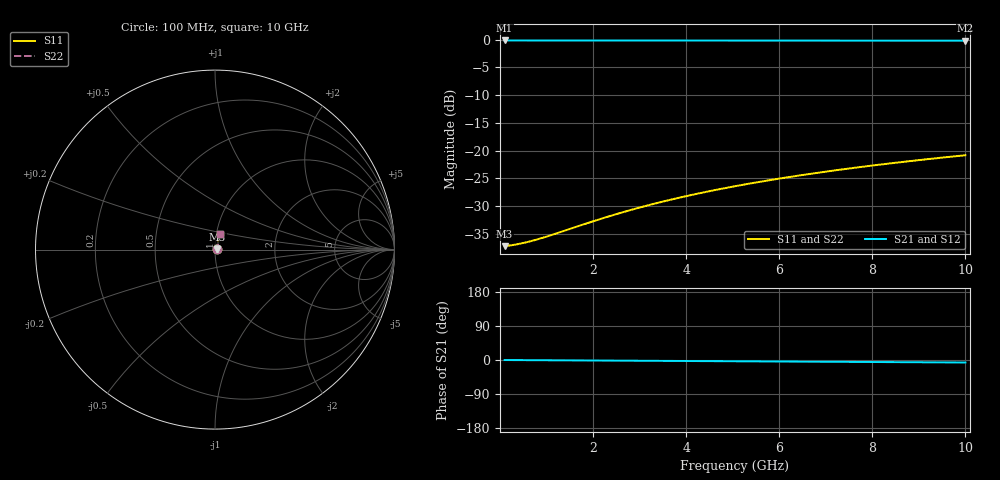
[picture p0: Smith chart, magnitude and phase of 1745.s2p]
# Hz S RI R 50.00
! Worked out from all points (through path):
!   100 points, 100 MHz to 10 GHz, reference 50 ohm
!   highest |S21| = -0.12 dB at 100 MHz (marker M1); lowest = -0.2 dB at 10 GHz (marker M2)
!   lowest |S11| = -37.3 dB at 100 MHz (marker M3), VSWR 1.03, Z = 51.4 + j0.0909 ohm
!   |S11| at or under -10 dB: start of sweep to end of sweep
!   |S22| runs from -37.3 to -20.8 dB; largest |S21 - S12| = 0
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1e8  0.0137 0.000884  0.9863 -0.00114  0.9863 -0.00114  0.0137 0.000884
3e8  0.0138 0.00265  0.9862 -0.00343  0.9862 -0.00343  0.0138 0.00265
4e8  0.0139 0.00353  0.9861 -0.00457  0.9861 -0.00457  0.0139 0.00353
5e8  0.014 0.00442  0.986 -0.00571  0.986 -0.00571  0.014 0.00442
7e8  0.0141 0.00618  0.9859 -0.00799  0.9859 -0.00799  0.0141 0.00618
9e8  0.0141 0.00795  0.9858 -0.0103  0.9858 -0.0103  0.0141 0.00795
1.1e9  0.0142 0.00971  0.9858 -0.0126  0.9858 -0.0126  0.0142 0.00971
1.8e9  0.0146 0.0159  0.9854 -0.0205  0.9854 -0.0205  0.0146 0.0159
2.2e9  0.0148 0.0194  0.9852 -0.0251  0.9852 -0.0251  0.0148 0.0194
2.6e9  0.0151 0.0229  0.9849 -0.0297  0.9849 -0.0297  0.0151 0.0229
3e9  0.0153 0.0265  0.9846 -0.0342  0.9846 -0.0342  0.0153 0.0265
3.4e9  0.0156 0.03  0.9843 -0.0388  0.9843 -0.0388  0.0156 0.03
3.8e9  0.016 0.0335  0.984 -0.0433  0.984 -0.0433  0.016 0.0335
4.2e9  0.0163 0.037  0.9836 -0.0478  0.9836 -0.0478  0.0163 0.037
4.6e9  0.0167 0.0405  0.9832 -0.0524  0.9832 -0.0524  0.0167 0.0405
5.1e9  0.0173 0.0449  0.9826 -0.0581  0.9826 -0.0581  0.0173 0.0449
5.9e9  0.0182 0.0518  0.9816 -0.0671  0.9816 -0.0671  0.0182 0.0518
6.7e9  0.0193 0.0588  0.9805 -0.0761  0.9805 -0.0761  0.0193 0.0588
7.5e9  0.0205 0.0657  0.9793 -0.0851  0.9793 -0.0851  0.0205 0.0657
8.4e9  0.022 0.0735  0.9777 -0.0952  0.9777 -0.0952  0.022 0.0735
9.2e9  0.0235 0.0804  0.9762 -0.1042  0.9762 -0.1042  0.0235 0.0804
1e10  0.0251 0.0872  0.9745 -0.1131  0.9745 -0.1131  0.0251 0.0872
